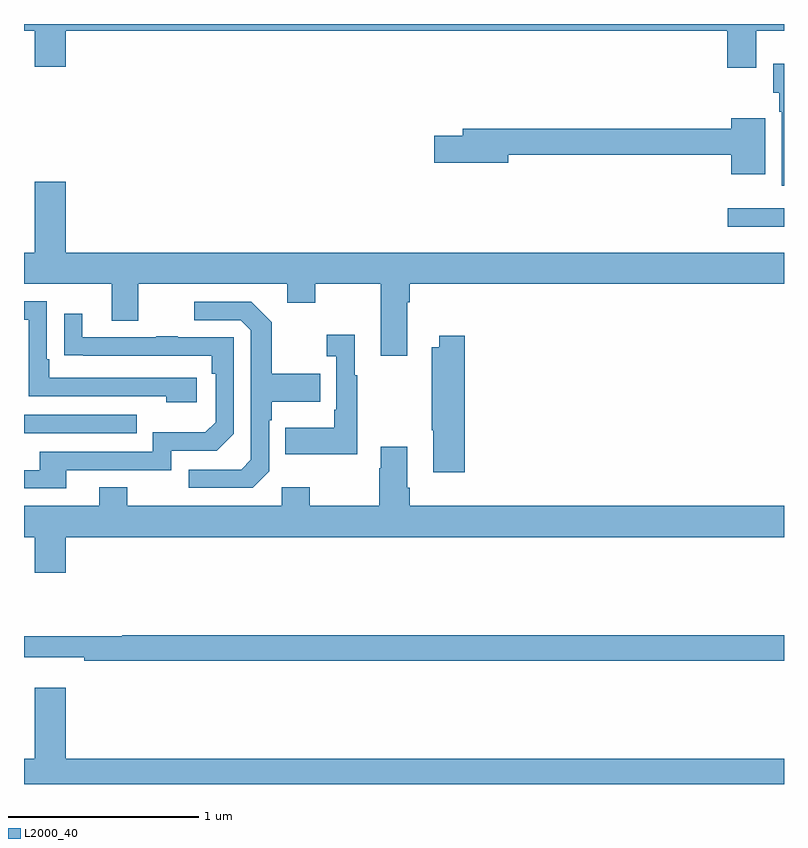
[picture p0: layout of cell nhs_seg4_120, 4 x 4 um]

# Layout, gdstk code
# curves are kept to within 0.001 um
import gdstk
lib = gdstk.Library(unit=1e-6, precision=1e-09)
def R(c, l, rs):  # rectangles x0, y0, x1, y1
    for r in rs: c.add(gdstk.rectangle(r[:2], r[2:], *l))
def P(c, l, *ps):  # polygons
    for p in ps: c.add(gdstk.Polygon(p, *l))
L2000_40 = (2000, 40)

nhs_seg4_120 = lib.new_cell('nhs_seg4_120')
R(nhs_seg4_120, L2000_40, [(117,750.747,117.593,750.843), (120.705,751.832,121,751.929)])
P(nhs_seg4_120, L2000_40, [(120.853,752.864),(121,752.864),(121,752.9),(117,752.9),(117,752.864),(117.056,752.864),(117.056,752.676),(117.22,752.676),(117.22,752.864),(120.701,752.864),(120.701,752.67),(120.853,752.67)],
  [(121,752.692),(120.944,752.692),(120.944,752.538),(120.974,752.538),(120.974,752.438),(120.989,752.438),(120.989,752.049),(121,752.049)],
  [(120.901,752.404),(120.722,752.404),(120.722,752.348),(119.309,752.348),(119.309,752.312),(119.16,752.312),(119.16,752.17),(119.548,752.17),(119.548,752.212),(120.722,752.212),(120.722,752.108),(120.901,752.108)],
  [(119.017,751.436),(119.03,751.436),(119.03,751.532),(121,751.532),(121,751.696),(117.22,751.696),(117.22,752.071),(117.056,752.071),(117.056,751.696),(117,751.696),(117,751.532),(117.461,751.532),(117.461,751.338),(117.601,751.338),(117.601,751.532),(118.385,751.532),(118.385,751.433),(118.533,751.433),(118.533,751.532),(118.877,751.532),(118.877,751.155),(119.017,751.155)],
  [(117.91,751.038),(117.133,751.038),(117.133,751.135),(117.12,751.135),(117.12,751.44),(117,751.44),(117,751.344),(117.024,751.344),(117.024,750.942),(117.749,750.942),(117.749,750.908),(117.91,750.908)],
  [(118.29,750.546),(118.29,750.815),(118.303,750.815),(118.303,750.911),(118.559,750.911),(118.559,751.059),(118.303,751.059),(118.303,751.331),(118.197,751.437),(117.897,751.437),(117.897,751.341),(118.14,751.341),(118.194,751.287),(118.194,750.606),(118.143,750.555),(117.867,750.555),(117.867,750.459),(118.203,750.459)],
  [(117.223,750.552),(117.774,750.552),(117.774,750.654),(118.014,750.654),(118.104,750.744),(118.104,751.251),(117.809,751.251),(117.809,751.256),(117.697,751.256),(117.697,751.251),(117.307,751.251),(117.307,751.375),(117.211,751.375),(117.211,751.156),(117.988,751.155),(117.988,751.058),(118.008,751.058),(118.008,750.804),(117.955,750.751),(117.678,750.751),(117.678,750.648),(117.083,750.648),(117.083,750.552),(117,750.552),(117,750.456),(117.223,750.456)],
  [(118.753,751.051),(118.741,751.051),(118.741,751.264),(118.593,751.264),(118.593,751.151),(118.644,751.151),(118.644,750.871),(118.632,750.871),(118.632,750.775),(118.375,750.775),(118.375,750.635),(118.753,750.635)],
  [(119.321,751.258),(119.186,751.258),(119.186,751.198),(119.146,751.198),(119.146,750.763),(119.153,750.763),(119.153,750.54),(119.321,750.54)],
  [(117.22,750.2),(121,750.2),(121,750.364),(119.03,750.364),(119.03,750.46),(119.017,750.46),(119.017,750.676),(118.877,750.676),(118.877,750.563),(118.87,750.563),(118.87,750.364),(118.503,750.364),(118.503,750.463),(118.356,750.463),(118.356,750.364),(117.543,750.364),(117.543,750.463),(117.395,750.463),(117.395,750.364),(117,750.364),(117,750.2),(117.056,750.2),(117.056,750.012),(117.22,750.012)],
  [(121,749.684),(117.518,749.684),(117.518,749.677),(117,749.677),(117,749.567),(117.316,749.567),(117.316,749.548),(121,749.548)],
  [(121,749.032),(117.22,749.032),(117.22,749.407),(117.056,749.407),(117.056,749.032),(117,749.032),(117,748.9),(121,748.9)])

lib.write_gds('nhs_seg4_120.gds')
